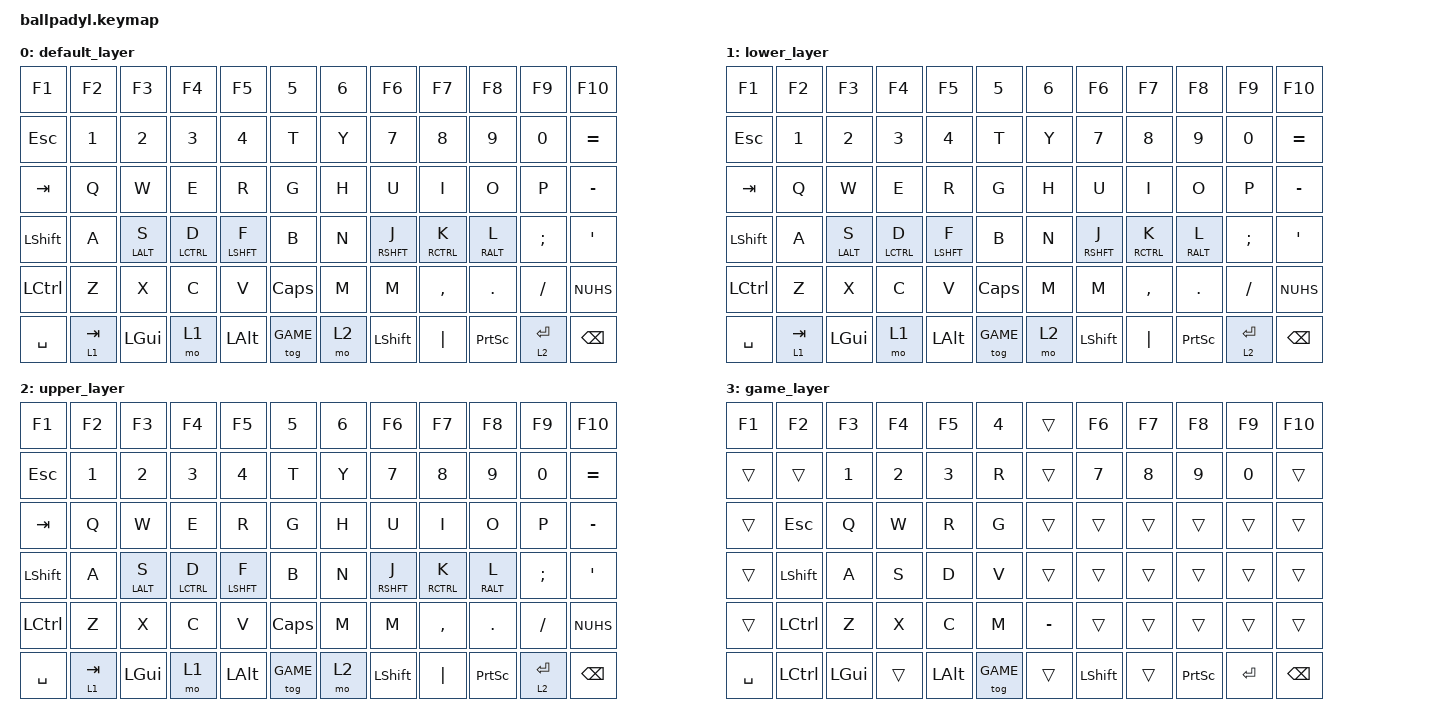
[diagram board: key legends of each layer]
#include <behaviors.dtsi>
#include <dt-bindings/zmk/keys.h>

#define DEFAULT 0
#define LOWER   1
#define RAISE   2
#define GAME    3
#define MOUSE   4

/ {
    keymap {
        compatible = "zmk,keymap";

        default_layer { // Layer DEFAULT
            // -------------------------------------
            // |     F1    |     F2    |     F3    |     F4    |     F5    |     5     |     6     |     F6    |     F7    |     F8    |     F9    |     F10   |
            // |    ESC    |     1     |     2     |     3     |     4     |     T     |     Y     |     7     |     8     |     9     |     0     |     =+    |
            // |    TAB    |     Q     |     W     |     E     |     R     |     G     |     H     |     U     |     I     |     O     |     P     |     -_    |
            // |   SHIFT   |     A     |    ALTS   |   CRTLD   |   SHFTF   |     B     |     N     |   SHFTJ   |   CTRLK   |    ALTL   |     ;     |     @'    |
            // |    CTRL   |     Z     |     X     |     C     |     V     |    CAPS   |    ZMK    |     M     |     ,     |     .     |     /     |     #~    |
            // |    SPC    |    TAB    |    WIN    |    LAY2   |    ALT    |    GAME   |    LAY3   |    SHFT   |    PIPE   |    PTSCN  |    ENT    |    BSPC   |
            bindings = <
                &kp F1     &kp F2      &kp F3      &kp F4       &kp F5       &kp N5                  &kp N6          &kp F6       &kp F7         &kp F8      &kp F9     &kp F10
                &kp ESC    &kp N1      &kp N2      &kp N3       &kp N4       &kp T                   &kp Y           &kp N7       &kp N8         &kp N9      &kp N0     &kp EQUAL
                &kp TAB    &kp Q       &kp W       &kp E        &kp R        &kp G                   &kp H           &kp U        &kp I          &kp O       &kp P      &kp MINUS
                &kp LSHFT  &kp A       &lt LALT S  &lt LCTRL D  &lt LSHFT F  &kp B                   &kp N           &lt RSHFT J  &lt RCTRL K    &lt RALT L  &kp SEMI   &kp APOS
                &kp LCTRL  &kp Z       &kp X       &kp C        &kp V        &kp CAPS                &kp M           &kp M        &kp COMMA      &kp DOT     &kp FSLH   &kp NUHS
                &kp SPACE  &lt 1 TAB   &kp LGUI    &mo 1        &kp LALT     &tog GAME               &mo 2           &kp LSHFT    &kp PIPE       &kp PSCRN   &lt 2 RET  &kp BSPC
            >;
        };
        
        lower_layer { // Layer LOWER
            // -------------------------------------
            // |     F1    |     F2    |     F3    |     F4    |     F5    |     5     |     6     |     F6    |     F7    |     F8    |     F9    |     F10   |
            // |    ESC    |     1     |     2     |     3     |     4     |     T     |     Y     |     7     |     8     |     9     |     0     |     =+    |
            // |    TAB    |     Q     |     W     |     E     |     R     |     G     |     H     |     U     |     I     |     O     |     P     |     -_    |
            // |   SHIFT   |     A     |    ALTS   |   CRTLD   |   SHFTF   |     B     |     N     |   SHFTJ   |   CTRLK   |    ALTL   |     ;     |     @'    |
            // |    CTRL   |     Z     |     X     |     C     |     V     |    CAPS   |    ZMK    |     M     |     ,     |     .     |     /     |     #~    |
            // |    SPC    |    TAB    |    WIN    |    LAY2   |    ALT    |    GAME   |    LAY3   |    SHFT   |    PIPE   |    PTSCN  |    ENT    |    BSPC   |
            bindings = <
                &kp F1     &kp F2      &kp F3      &kp F4       &kp F5       &kp N5                  &kp N6          &kp F6       &kp F7         &kp F8      &kp F9     &kp F10
                &kp ESC    &kp N1      &kp N2      &kp N3       &kp N4       &kp T                   &kp Y           &kp N7       &kp N8         &kp N9      &kp N0     &kp EQUAL
                &kp TAB    &kp Q       &kp W       &kp E        &kp R        &kp G                   &kp H           &kp U        &kp I          &kp O       &kp P      &kp MINUS
                &kp LSHFT  &kp A       &lt LALT S  &lt LCTRL D  &lt LSHFT F  &kp B                   &kp N           &lt RSHFT J  &lt RCTRL K    &lt RALT L  &kp SEMI   &kp APOS
                &kp LCTRL  &kp Z       &kp X       &kp C        &kp V        &kp CAPS                &kp M           &kp M        &kp COMMA       &kp DOT     &kp FSLH   &kp NUHS
                &kp SPACE  &lt 1 TAB   &kp LGUI    &mo 1        &kp LALT     &tog GAME               &mo 2           &kp LSHFT    &kp PIPE       &kp PSCRN   &lt 2 RET  &kp BSPC
            >;
        };
        upper_layer { // Layer UPPER
            // -------------------------------------
            // |     F1    |     F2    |     F3    |     F4    |     F5    |     5     |     6     |     F6    |     F7    |     F8    |     F9    |     F10   |
            // |    ESC    |     1     |     2     |     3     |     4     |     T     |     Y     |     7     |     8     |     9     |     0     |     =+    |
            // |    TAB    |     Q     |     W     |     E     |     R     |     G     |     H     |     U     |     I     |     O     |     P     |     -_    |
            // |   SHIFT   |     A     |    ALTS   |   CRTLD   |   SHFTF   |     B     |     N     |   SHFTJ   |   CTRLK   |    ALTL   |     ;     |     @'    |
            // |    CTRL   |     Z     |     X     |     C     |     V     |    CAPS   |    ZMK    |     M     |     ,     |     .     |     /     |     #~    |
            // |    SPC    |    TAB    |    WIN    |    LAY2   |    ALT    |    GAME   |    LAY3   |    SHFT   |    PIPE   |    PTSCN  |    ENT    |    BSPC   |
            bindings = <
                &kp F1     &kp F2      &kp F3      &kp F4       &kp F5       &kp N5                  &kp N6          &kp F6       &kp F7         &kp F8      &kp F9     &kp F10
                &kp ESC    &kp N1      &kp N2      &kp N3       &kp N4       &kp T                   &kp Y           &kp N7       &kp N8         &kp N9      &kp N0     &kp EQUAL
                &kp TAB    &kp Q       &kp W       &kp E        &kp R        &kp G                   &kp H           &kp U        &kp I          &kp O       &kp P      &kp MINUS
                &kp LSHFT  &kp A       &lt LALT S  &lt LCTRL D  &lt LSHFT F  &kp B                   &kp N           &lt RSHFT J  &lt RCTRL K    &lt RALT L  &kp SEMI   &kp APOS
                &kp LCTRL  &kp Z       &kp X       &kp C        &kp V        &kp CAPS                &kp M           &kp M        &kp COMMA      &kp DOT     &kp FSLH   &kp NUHS
                &kp SPACE  &lt 1 TAB   &kp LGUI    &mo 1        &kp LALT     &tog GAME               &mo 2           &kp LSHFT    &kp PIPE       &kp PSCRN   &lt 2 RET  &kp BSPC
            >;
        };
        
        game_layer { // Layer GAME
            // -------------------------------------
            // |     F1    |     F2    |     F3    |     F4    |     F5    |     4     |           |     F6    |     F7    |     F8    |     F9    |     F10   |
            // |           |           |     1     |     2     |     3     |     R     |           |           |           |           |           |           |
            // |           |    ESC    |     Q     |     W     |     E     |     F     |           |    MMUP   |           |           |           |           |
            // |           |   SHIFT   |     A     |     S     |     D     |     V     |           |    LMSE   |    RMSE   |    MMSE   |           |           |
            // |           |    CTRL   |     Z     |     X     |     C     |     M     |    ZMK    |    MMDN   |           |           |           |           |
            // |    SPC    |    CTRL   |    WIN    |           |    ALT    |    GAME   |           |    SHFT   |           |    PTSCN  |    ENT    |    BSPC   |
            bindings = <
                &kp F1     &kp F2      &kp F3      &kp F4       &kp F5       &kp N4                  &trans          &kp F6       &kp F7         &kp F8      &kp F9     &kp F10
                &trans     &trans      &kp N1      &kp N2       &kp N3       &kp R                   &trans          &kp N7       &kp N8         &kp N9      &kp N0     &trans
                &trans     &kp ESC     &kp Q       &kp W        &kp R        &kp G                   &trans          &trans       &trans         &trans      &trans     &trans
                &trans     &kp LSHFT   &kp A       &kp S        &kp D        &kp V                   &trans          &trans       &trans         &trans      &trans     &trans
                &trans     &kp LCTRL   &kp Z       &kp X        &kp C        &kp M                   &kp MINUS       &trans       &trans         &trans      &trans     &trans
                &kp SPACE  &kp LCTRL   &kp LGUI    &trans       &kp LALT     &tog GAME               &trans          &kp LSHFT    &trans         &kp PSCRN   &kp RET    &kp BSPC
            >;
        };

        extra1 {
            status = "reserved";
        };

        extra2 {
            status = "reserved";
        };

        extra3 {
            status = "reserved";
        };
        
    };
 };
